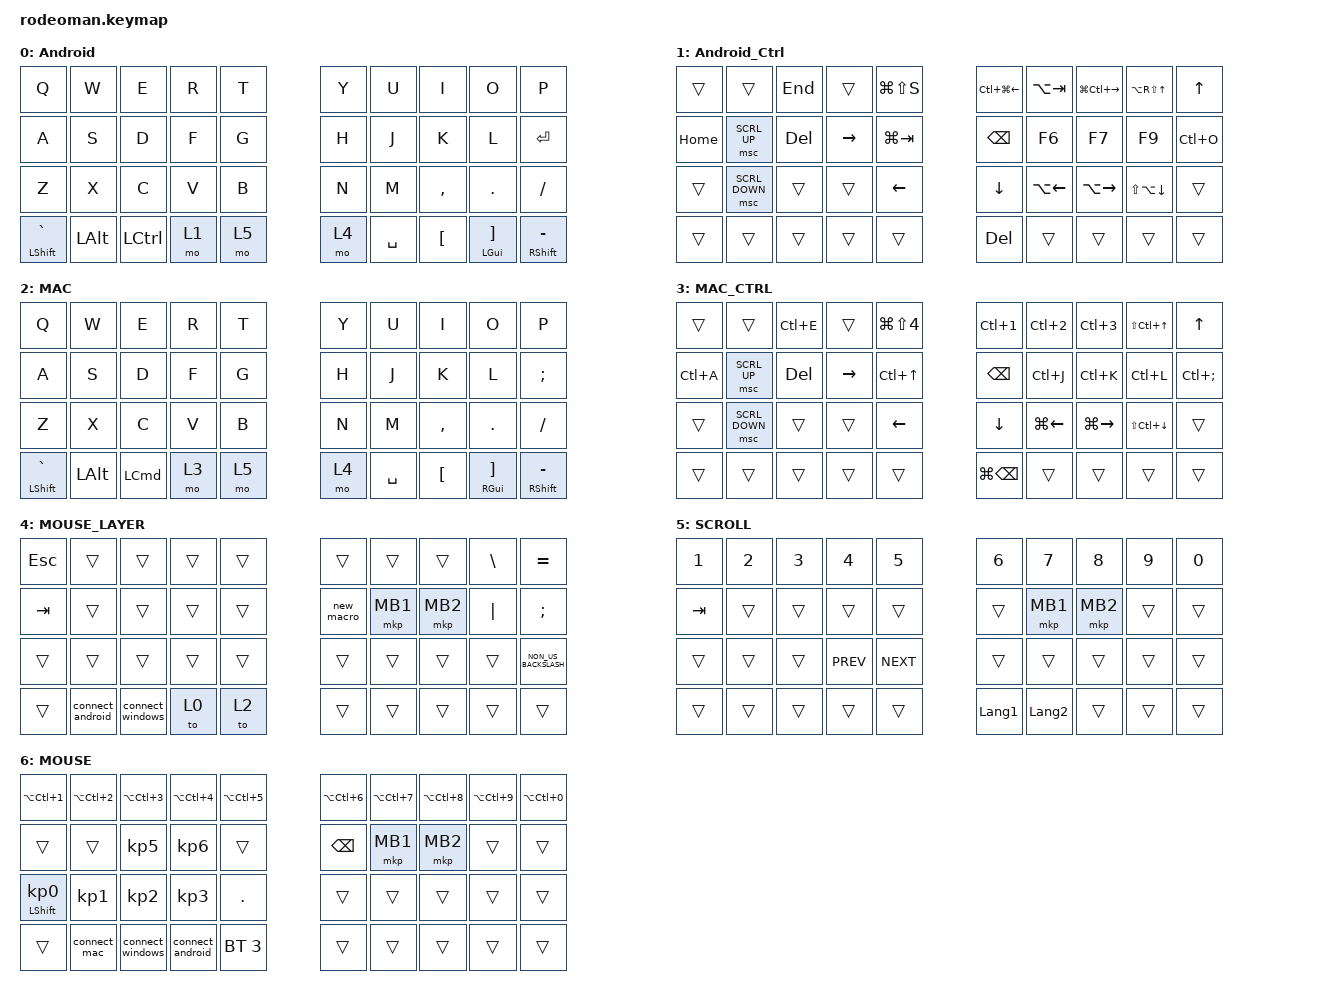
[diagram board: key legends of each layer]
#include <behaviors.dtsi>
#include <dt-bindings/zmk/bt.h>
#include <dt-bindings/zmk/keys.h>
#include <dt-bindings/zmk/pointing.h>

#define Android 0
#define Android_Ctrl 1
#define MAC 2
#define MAC_CTRL 3
#define MOUSE_LAYER 4
#define SCROLL 5
#define MOUSE 6

&mt {
    flavor = "balanced";
    quick-tap-ms = <0>;
};

/ {
    combos {
        compatible = "zmk,combos";

        // rodeomanのキーポジションに合わせて要調整（いったんパースエラーを防ぐためシンプルな位置に）

        tab {
            bindings = <&kp TAB>;
            key-positions = <1 2>;
            timeout-ms = <50>;
        };

        esc {
            bindings = <&kp ESC>;
            key-positions = <0 1>;
            timeout-ms = <50>;
        };
    };

    behaviors {
        // マウススクロール用のセンサーローテート定義

        ROTATE: ROTATE {
            compatible = "zmk,behavior-sensor-rotate-var";
            label = "ROTATE";
            #sensor-binding-cells = <2>;
            bindings = <&msc>, <&msc>;

            tap-ms = <20>;
        };
    };

    macros {
        to_layer_0: to_layer_0 {
            compatible = "zmk,behavior-macro-one-param";
            #binding-cells = <1>;
            bindings = <&to 0 &macro_param_1to1 &kp MACRO_PLACEHOLDER>;
            label = "TO_LAYER_0";
        };

        new_macro: new_macro {
            compatible = "zmk,behavior-macro";
            #binding-cells = <0>;
            bindings = <&kp N &kp A &kp Z &kp U &kp Y &kp O &kp R &kp U &kp H &kp A &kp N &kp E &kp K &kp O &kp ENTER>;
            label = "NEW_MACRO";
        };

        Mac_zoomin: zoom {
            compatible = "zmk,behavior-macro";
            #binding-cells = <0>;
            bindings = <&kt LEFT_GUI &msc SCRL_DOWN &kt LEFT_GUI>;
            label = "ZOOM";
        };

        Mac_zoomout: Mac_zoomout {
            compatible = "zmk,behavior-macro";
            #binding-cells = <0>;
            bindings = <&kp LEFT_GUI &msc SCRL_UP &kt LEFT_GUI>;
            label = "MAC_ZOOMOUT";
        };

        connect_mac: connect_mac {
            compatible = "zmk,behavior-macro";
            #binding-cells = <0>;
            bindings = <&to 2 &bt BT_SEL 0>;
            label = "CONNECT_MAC";
        };

        connect_ipad: connect_ipad {
            compatible = "zmk,behavior-macro";
            #binding-cells = <0>;
            bindings = <&to 2 &bt BT_SEL 1>;
            label = "CONNECT_IPAD";
        };

        connect_android: connect_android {
            compatible = "zmk,behavior-macro";
            #binding-cells = <0>;
            bindings = <&to 0 &bt BT_SEL 2>;
            label = "CONNECT_ANDROID";
        };

        connect_windows: connect_windows {
            compatible = "zmk,behavior-macro";
            #binding-cells = <0>;
            bindings = <&to 0 &bt BT_SEL 3>;
            label = "CONNECT_WINDOWS";
        };
    };

    keymap {
        compatible = "zmk,keymap";

        Android {
            bindings = <
&kp Q  &kp W  &kp E  &kp R  &kp T  &kp Y  &kp U  &kp I  &kp O  &kp P  &kp A  &kp S  &kp D  &kp F  &kp G  &kp H  &kp J  &kp K  &kp L  &kp ENTER  &kp Z  &kp X  &kp C  &kp V  &kp B  &kp N  &kp M  &kp COMMA  &kp DOT  &kp FSLH  &mt LEFT_SHIFT GRAVE  &kp LEFT_ALT  &kp LCTRL  &mo 1  &mo 5  &mo 4  &kp SPACE  &kp LEFT_BRACKET  &mt LEFT_GUI RIGHT_BRACKET  &mt RIGHT_SHIFT MINUS
            >;
        };

        Android_Ctrl {
            bindings = <
&trans  &trans  &kp END  &trans  &kp LG(LS(S))  &kp LC(LG(LEFT))  &kp LA(TAB)  &kp LG(LC(RIGHT))  &kp LA(RS(UP_ARROW))  &kp UP_ARROW  &kp HOME  &msc SCRL_UP  &kp DELETE  &kp RIGHT  &kp LG(TAB)  &kp BACKSPACE  &kp F6  &kp F7  &kp F9  &kp LC(O)  &trans  &msc SCRL_DOWN  &trans  &trans  &kp LEFT_ARROW  &kp DOWN_ARROW  &kp LA(LEFT_ARROW)  &kp LA(RIGHT)  &kp LS(LA(DOWN_ARROW))  &trans  &trans  &trans  &trans  &trans  &trans  &kp DEL  &trans  &trans  &trans  &trans
            >;
        };

        MAC {
            bindings = <
&kp Q  &kp W  &kp E  &kp R  &kp T  &kp Y  &kp U  &kp I  &kp O  &kp P  &kp A  &kp S  &kp D  &kp F  &kp G  &kp H  &kp J  &kp K  &kp L  &kp SEMICOLON  &kp Z  &kp X  &kp C  &kp V  &kp B  &kp N  &kp M  &kp COMMA  &kp DOT  &kp FSLH  &mt LEFT_SHIFT GRAVE  &kp LEFT_ALT  &kp LCMD  &mo 3  &mo 5  &mo 4  &kp SPACE  &kp LEFT_BRACKET  &mt RIGHT_GUI RIGHT_BRACKET  &mt RIGHT_SHIFT MINUS
            >;
        };

        MAC_CTRL {
            bindings = <
&trans  &trans  &kp LC(E)  &trans  &kp LG(LS(NUMBER_4))  &kp LC(NUMBER_1)  &kp LC(NUMBER_2)  &kp LC(NUMBER_3)  &kp LS(LC(UP_ARROW))  &kp UP_ARROW  &kp LC(A)  &msc SCRL_UP  &kp DELETE  &kp RIGHT  &kp LC(UP_ARROW)  &kp BACKSPACE  &kp LC(J)  &kp LC(K)  &kp LC(L)  &kp LC(SEMICOLON)  &trans  &msc SCRL_DOWN  &trans  &trans  &kp LEFT_ARROW  &kp DOWN_ARROW  &kp LG(LEFT_ARROW)  &kp LG(RIGHT)  &kp LS(LC(DOWN))  &trans  &trans  &trans  &trans  &trans  &trans  &kp LG(BACKSPACE)  &trans  &trans  &trans  &trans
            >;
        };

        MOUSE_LAYER {
            bindings = <
&kp ESC  &trans  &trans  &trans  &trans  &trans  &trans  &trans  &kp BACKSLASH  &kp EQUAL  &kp TAB  &trans  &trans  &trans  &trans  &new_macro  &mkp MB1  &mkp MB2  &kp PIPE  &kp SEMICOLON  &trans  &trans  &trans  &trans  &trans  &trans  &trans  &trans  &trans  &kp NON_US_BACKSLASH  &trans  &connect_android  &connect_windows  &to 0  &to 2  &trans  &trans  &trans  &trans  &trans
            >;
        };

        SCROLL {
            bindings = <
&kp NUMBER_1  &kp NUMBER_2  &kp NUMBER_3  &kp NUMBER_4  &kp NUMBER_5  &kp NUMBER_6  &kp NUMBER_7  &kp NUMBER_8  &kp NUMBER_9  &kp NUMBER_0  &kp TAB  &trans  &trans  &trans  &trans  &trans  &mkp MB1  &mkp MB2  &trans  &trans  &trans  &trans  &trans  &kp C_PREV  &kp C_NEXT  &trans  &trans  &trans  &trans  &trans  &trans  &trans  &trans  &trans  &trans  &kp LANGUAGE_1  &kp LANGUAGE_2  &trans  &trans  &trans
            >;
        };

        MOUSE {
            bindings = <
&kp LA(LC(NUMBER_1))  &kp LA(LC(NUMBER_2))  &kp LA(LC(NUMBER_3))  &kp LA(LC(NUMBER_4))  &kp LA(LC(NUMBER_5))  &kp LA(LC(NUMBER_6))  &kp LA(LC(NUMBER_7))  &kp LA(LC(NUMBER_8))  &kp LA(LC(NUMBER_9))  &kp LA(LC(NUMBER_0))  &trans  &trans  &kp KP_NUMBER_5  &kp KP_NUMBER_6  &trans  &kp BACKSPACE  &mkp MB1  &mkp MB2  &trans  &trans  &mt LEFT_SHIFT KP_NUMBER_0  &kp KP_NUMBER_1  &kp KP_NUMBER_2  &kp KP_NUMBER_3  &kp PERIOD  &trans  &trans  &trans  &trans  &trans  &trans  &connect_mac  &connect_windows  &connect_android  &bt BT_SEL 3  &trans  &trans  &trans  &trans  &trans
            >;
        };
    };
};
